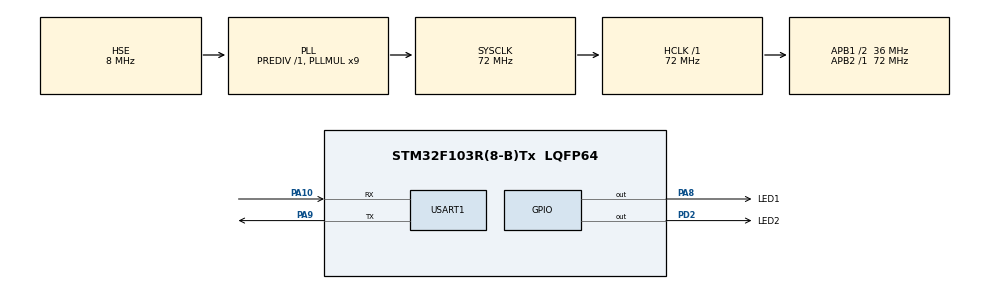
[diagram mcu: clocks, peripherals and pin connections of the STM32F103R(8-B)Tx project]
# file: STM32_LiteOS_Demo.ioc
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Mcu.Family=STM32F1
Mcu.Name=STM32F103R(8-B)Tx
Mcu.Package=LQFP64
NVIC.PriorityGroup=NVIC_PRIORITYGROUP_4
NVIC.TIM4_IRQn=true\:0\:0\:false\:false\:true\:false\:true
NVIC.TimeBase=TIM4_IRQn
NVIC.TimeBaseIP=TIM4
PA10.Mode=Asynchronous
PA10.Signal=USART1_RX
PA13.Mode=Serial_Wire
PA13.Signal=SYS_JTMS-SWDIO
PA14.Mode=Serial_Wire
PA14.Signal=SYS_JTCK-SWCLK
PA8.GPIO_Label=LED1
PA8.Signal=GPIO_Output
PA9.Mode=Asynchronous
PA9.Signal=USART1_TX
PD0-OSC_IN.Mode=HSE-External-Oscillator
PD0-OSC_IN.Signal=RCC_OSC_IN
PD1-OSC_OUT.Mode=HSE-External-Oscillator
PD1-OSC_OUT.Signal=RCC_OSC_OUT
PD2.GPIO_Label=LED2
PD2.Signal=GPIO_Output
ProjectManager.HeapSize=0x200
ProjectManager.StackSize=0x400
ProjectManager.TargetToolchain=MDK-ARM V5
RCC.AHBFreq_Value=72000000
RCC.APB1CLKDivider=RCC_HCLK_DIV2
RCC.APB1Freq_Value=36000000
RCC.APB1TimFreq_Value=72000000
RCC.APB2Freq_Value=72000000
RCC.APB2TimFreq_Value=72000000
RCC.HCLKFreq_Value=72000000
RCC.PLLMUL=RCC_PLL_MUL9
RCC.PLLSourceVirtual=RCC_PLLSOURCE_HSE
RCC.SYSCLKFreq_VALUE=72000000
RCC.SYSCLKSource=RCC_SYSCLKSOURCE_PLLCLK
RCC.USBFreq_Value=72000000
USART1.VirtualMode=VM_ASYNC
VP_SYS_VS_tim4.Mode=TIM4
board=custom

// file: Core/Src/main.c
/* USER CODE BEGIN Header */
/**
  ******************************************************************************
  * @file           : main.c
  * @brief          : Main program body
  ******************************************************************************
  * @attention
  *
  * <h2><center>&copy; Copyright (c) 2020 STMicroelectronics.
  * All rights reserved.</center></h2>
  *
  * This software component is licensed by ST under BSD 3-Clause license,
  * the "License"; You may not use this file except in compliance with the
  * License. You may obtain a copy of the License at:
  *                        opensource.org/licenses/BSD-3-Clause
  *
  ******************************************************************************
  */
/* USER CODE END Header */
#include "main.h"
#include "usart.h"
#include "gpio.h"

void SystemClock_Config(void);
/* USER CODE BEGIN PFP */
#include "los_sys.h"
#include "los_task.h"
#include "los_memory.h"
/* USER CODE END PFP */

/* USER CODE BEGIN 0 */

int fputc(int ch, FILE* fp)
{
	while(__HAL_UART_GET_FLAG(&huart1, UART_FLAG_TXE) != SET);
	huart1.Instance->DR = ch & 0XFF;
	return ch;
}

void* led1_task(UINT32 arg)
{
	for(;;)
	{
		HAL_GPIO_TogglePin(LED1_GPIO_Port, LED1_Pin);
		LOS_TaskDelay(1000);
	}
}

void* led2_task(UINT32 arg)
{
	for(;;)
	{
		HAL_GPIO_TogglePin(LED2_GPIO_Port, LED2_Pin);
		LOS_TaskDelay(300);
	}
}

void* print_task(UINT32 arg)
{
	for(;;)
	{
		PRINTK("Hello LiteOS !\r\n");
		LOS_TaskDelay(2000);
	}
}

UINT32 led1_task_handle;
UINT32 led2_task_handle;
UINT32 print_task_handle;

int main(void)
{
	TSK_INIT_PARAM_S task_param;

    HAL_Init();
    SystemClock_Config();
    MX_GPIO_Init();
    MX_USART1_UART_Init();

	LOS_KernelInit();

	task_param.pcName = "led1_task";
	task_param.pfnTaskEntry = led1_task;
	task_param.uwStackSize = 512;
	task_param.usTaskPrio = 4;
	if(LOS_TaskCreate(&led1_task_handle, &task_param) != LOS_OK)
	{
		PRINT_ERR("create led1 task failed!\r\n");
	}

	task_param.pcName = "led2_task";
	task_param.pfnTaskEntry = led2_task;
	task_param.uwStackSize = 512;
	task_param.usTaskPrio = 4;
	if(LOS_TaskCreate(&led2_task_handle, &task_param) != LOS_OK)
	{
		PRINT_ERR("create led2 task failed!\r\n");
	}

	task_param.pcName = "print_task";
	task_param.pfnTaskEntry = print_task;
	task_param.uwStackSize = 512;
	task_param.usTaskPrio = 4;
	if(LOS_TaskCreate(&print_task_handle, &task_param) != LOS_OK)
	{
		PRINT_ERR("create print task failed!\r\n");
	}

	LOS_Start();

    for(;;)
	{
	}
}

/* USER CODE END 0 */

void SystemClock_Config(void)
{
    RCC_OscInitTypeDef RCC_OscInitStruct = {0};
    RCC_ClkInitTypeDef RCC_ClkInitStruct = {0};

    /** Initializes the RCC Oscillators according to the specified parameters
    * in the RCC_OscInitTypeDef structure.
    */
    RCC_OscInitStruct.OscillatorType = RCC_OSCILLATORTYPE_HSE;
    RCC_OscInitStruct.HSEState = RCC_HSE_ON;
    RCC_OscInitStruct.HSEPredivValue = RCC_HSE_PREDIV_DIV1;
    RCC_OscInitStruct.HSIState = RCC_HSI_ON;
    RCC_OscInitStruct.PLL.PLLState = RCC_PLL_ON;
    RCC_OscInitStruct.PLL.PLLSource = RCC_PLLSOURCE_HSE;
    RCC_OscInitStruct.PLL.PLLMUL = RCC_PLL_MUL9;
    if (HAL_RCC_OscConfig(&RCC_OscInitStruct) != HAL_OK)
    {
        Error_Handler();
    }
    /** Initializes the CPU, AHB and APB buses clocks
    */
    RCC_ClkInitStruct.ClockType = RCC_CLOCKTYPE_HCLK|RCC_CLOCKTYPE_SYSCLK
                                  |RCC_CLOCKTYPE_PCLK1|RCC_CLOCKTYPE_PCLK2;
    RCC_ClkInitStruct.SYSCLKSource = RCC_SYSCLKSOURCE_PLLCLK;
    RCC_ClkInitStruct.AHBCLKDivider = RCC_SYSCLK_DIV1;
    RCC_ClkInitStruct.APB1CLKDivider = RCC_HCLK_DIV2;
    RCC_ClkInitStruct.APB2CLKDivider = RCC_HCLK_DIV1;

    if (HAL_RCC_ClockConfig(&RCC_ClkInitStruct, FLASH_LATENCY_2) != HAL_OK)
    {
        Error_Handler();
    }
}

void HAL_TIM_PeriodElapsedCallback(TIM_HandleTypeDef *htim)
{
    if (htim->Instance == TIM4)
    {
        HAL_IncTick();
    }
}

void Error_Handler(void)
{
}

/************************ (C) COPYRIGHT STMicroelectronics *****END OF FILE****/
